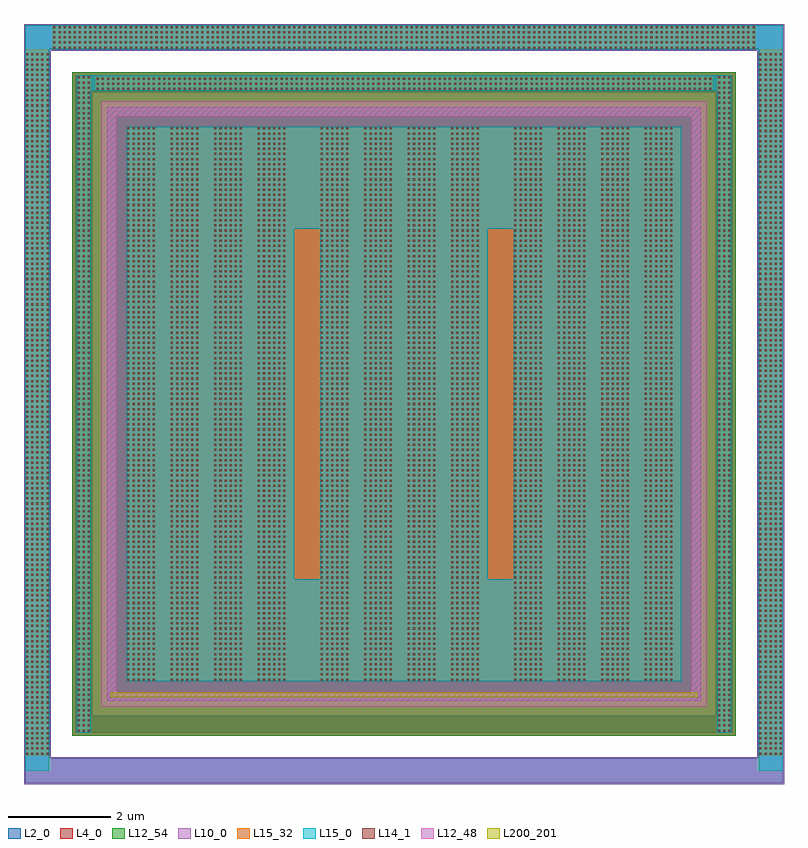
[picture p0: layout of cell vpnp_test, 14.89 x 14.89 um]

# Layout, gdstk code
import gdstk
lib = gdstk.Library(unit=1e-6, precision=1e-09)
def R(c, l, rs):  # rectangles x0, y0, x1, y1
    for r in rs: c.add(gdstk.rectangle(r[:2], r[2:], *l))
def A(c, l, x, y, w, h, nx, ny, dx, dy):  # array of equal rectangles
    R(c, l, [(x+i*dx, y+j*dy, x+i*dx+w, y+j*dy+h) for i in range(nx) for j in range(ny)])
L2_0 = (2, 0)
L4_0 = (4, 0)
L10_0 = (10, 0)
L12_48 = (12, 48)
L12_54 = (12, 54)
L14_1 = (14, 1)
L15_0 = (15, 0)
L15_32 = (15, 32)
L200_201 = (200, 201)

vpnp_test = lib.new_cell('vpnp_test')
R(vpnp_test, L2_0, [(-13.929,-5.959,0.923,-5.479), (-13.929,-5.479,-13.449,8.413), (0.443,-5.479,0.923,8.413), (-12.949,-4.979,-0.057,-4.639), (-12.949,-4.639,-12.609,7.573), (-0.397,-4.639,-0.057,7.573), (-12.253,-4.283,-0.753,7.217), (-12.949,7.573,-0.057,7.913), (-13.929,8.413,0.923,8.893)])
R(vpnp_test, L4_0, [(-13.005,-5.035,-0.001,7.969)])
R(vpnp_test, L10_0, [(-13.95,-5.98,0.944,-5.458), (-13.95,-5.458,-13.428,8.392), (0.422,-5.458,0.944,8.392), (-12.323,-4.353,-0.683,7.287), (-13.95,8.392,0.944,8.914)])
R(vpnp_test, L12_48, [(-12.434,-4.464,-0.572,-4.158), (-12.434,-4.158,-12.128,7.092), (-0.878,-4.158,-0.572,7.092), (-12.434,7.092,-0.572,7.398)])
R(vpnp_test, L12_54, [(-13.005,-5.035,-0.001,7.969)])
A(vpnp_test, L14_1, -13.909, -5.403, 0.04, 0.04, 5, 138, 0.1, 0.1)
A(vpnp_test, L14_1, 0.463, -5.403, 0.04, 0.04, 5, 138, 0.1, 0.1)
A(vpnp_test, L14_1, -12.899, -4.953, 0.04, 0.04, 3, 129, 0.1, 0.1)
A(vpnp_test, L14_1, -0.347, -4.953, 0.04, 0.04, 3, 129, 0.1, 0.1)
A(vpnp_test, L14_1, -11.923, -3.953, 0.04, 0.04, 6, 109, 0.1, 0.1)
A(vpnp_test, L14_1, -11.071, -3.953, 0.04, 0.04, 6, 109, 0.1, 0.1)
A(vpnp_test, L14_1, -10.219, -3.953, 0.04, 0.04, 6, 109, 0.1, 0.1)
A(vpnp_test, L14_1, -9.367, -3.953, 0.04, 0.04, 6, 109, 0.1, 0.1)
A(vpnp_test, L14_1, -8.131, -3.953, 0.04, 0.04, 6, 109, 0.1, 0.1)
A(vpnp_test, L14_1, -7.279, -3.953, 0.04, 0.04, 6, 109, 0.1, 0.1)
A(vpnp_test, L14_1, -6.427, -3.953, 0.04, 0.04, 6, 109, 0.1, 0.1)
A(vpnp_test, L14_1, -5.575, -3.953, 0.04, 0.04, 6, 109, 0.1, 0.1)
A(vpnp_test, L14_1, -4.339, -3.953, 0.04, 0.04, 6, 109, 0.1, 0.1)
A(vpnp_test, L14_1, -3.487, -3.953, 0.04, 0.04, 6, 109, 0.1, 0.1)
A(vpnp_test, L14_1, -2.635, -3.953, 0.04, 0.04, 6, 109, 0.1, 0.1)
A(vpnp_test, L14_1, -1.783, -3.953, 0.04, 0.04, 6, 109, 0.1, 0.1)
A(vpnp_test, L14_1, -12.523, 7.623, 0.04, 0.04, 121, 3, 0.1, 0.1)
A(vpnp_test, L14_1, -13.373, 8.433, 0.04, 0.04, 138, 5, 0.1, 0.1)
A(vpnp_test, L15_0, -11.941, -1.971, 3.292, 6.876, 3, 1, 3.792, 0)
R(vpnp_test, L15_0, [(-13.927,-5.719,-13.451,8.891), (0.445,-5.719,0.921,8.891), (-12.917,-4.971,-12.641,7.905), (-0.365,-4.971,-0.089,7.905), (-11.941,-3.971,-1.065,-1.971), (-11.941,4.905,-1.065,6.905), (-12.641,7.605,-0.365,7.905), (-13.451,8.415,0.445,8.891)])
R(vpnp_test, L15_32, [(-13.927,-5.421,-13.451,8.415), (0.445,-5.421,0.921,8.415), (-12.917,-4.971,-12.641,7.905), (-0.365,-4.971,-0.089,7.905), (-11.941,-3.971,-1.065,6.905), (-12.541,7.605,-0.465,7.881), (-13.391,8.415,0.385,8.891)])
R(vpnp_test, L200_201, [(-12.253,-4.283,-0.753,-4.183)])

lib.write_gds('vpnp_test.gds')
